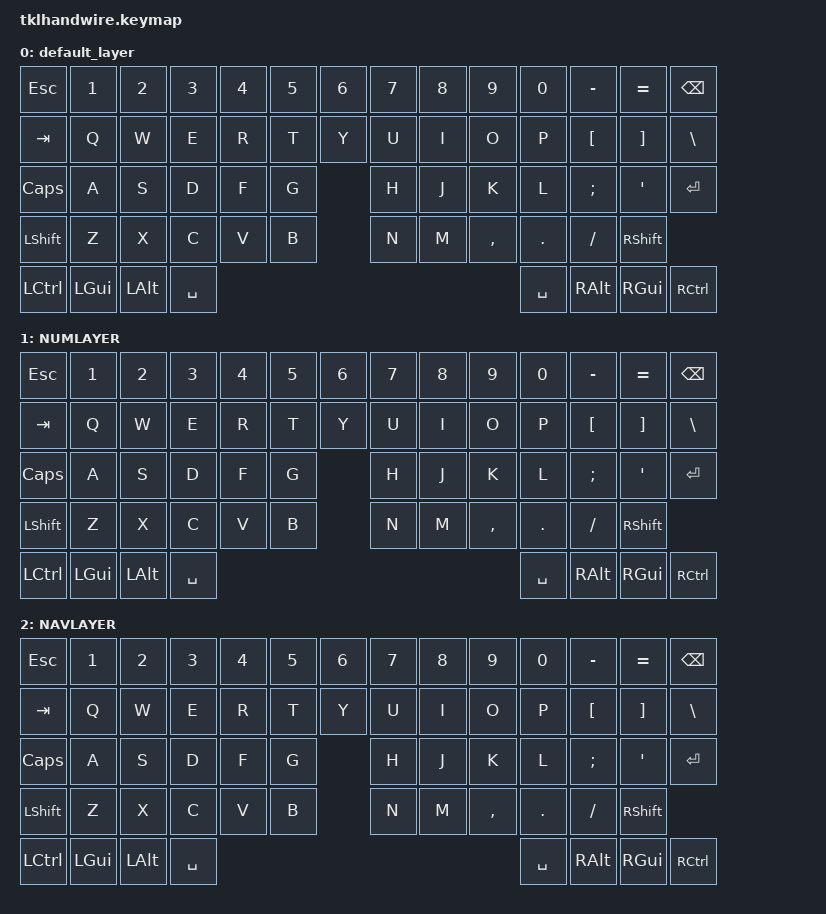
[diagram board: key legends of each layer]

#include <behaviors.dtsi>
#include <dt-bindings/zmk/keys.h>
#include <dt-bindings/zmk/mouse.h>
#include <dt-bindings/zmk/bt.h>
#include <dt-bindings/zmk/outputs.h>

#include <dt-bindings/zmk/pointing.h>

#define DEFAULT     0
#define NUMLAYER    1
#define NAVLAYER    2

/*
  ╭─────────────────────────────┬───────────────────────────────────╮ 
  │  0   1   2   3   4   5   6  |   7   8   9   10  11  12  __  13  │
  │ 14   15  16  17  18  19  __ |   20  21  22  23  24  25  26  27  |
  │ 28   29  30  31  32  33  __ |   34  35  36  37  38  39  40  __  |
  │ 41   42  43  44  45  46  __ |   47  48  49  50  51  __  52  __  |
  | 53   54  55  __  56  __  __ |   __  57  __  __  58  59  60  __  |
  ╰─────────────────────────────┴───────────────────────────────────╯
  */

/ {
    
    combos {
        compatible = "zmk,combos";
        combo_bootloader_left {
            timeout-ms = <50>;
            key-positions = <0 1>;
            bindings = <&bootloader>;
        };
        combo_bootloader_right {
            timeout-ms = <50>;
            key-positions = <12 13>;
            bindings = <&bootloader>;
        };
        combo_bluetooth_clear {
            timeout-ms = <50>;
            key-positions = <53 54>;
            bindings = <&bt BT_CLR>;
        };
        
    };
};

/ {
        keymap {
                compatible = "zmk,keymap";
                default_layer {

                        bindings = <

    &kp ESC     &kp NUMBER_1    &kp NUMBER_2    &kp NUMBER_3    &kp NUMBER_4    &kp NUMBER_5    &kp NUMBER_6        &kp NUMBER_7    &kp NUMBER_8    &kp NUMBER_9    &kp NUMBER_0    &kp MINUS   &kp EQUAL               &kp BSPC
    &kp TAB     &kp Q           &kp W           &kp E           &kp R           &kp T                               &kp Y           &kp U           &kp I           &kp O           &kp P       &kp LBKT    &kp RBKT    &kp BSLH
    &kp CAPS    &kp A           &kp S           &kp D           &kp F           &kp G                               &kp H           &kp J           &kp K           &kp L           &kp SEMI    &kp SQT     &kp RET     
    &kp LSHIFT  &kp Z           &kp X           &kp C           &kp V           &kp B                               &kp N           &kp M           &kp COMMA       &kp DOT         &kp FSLH                &kp RSHIFT  
    &kp LCTRL   &kp LGUI        &kp LALT                                        &kp SPACE                           &kp SPACE                                                       &kp RALT    &kp RGUI    &kp RCTRL   
                  
                        >;
                };
                NUMLAYER {

                        bindings = <
                        
    &kp ESC     &kp NUMBER_1    &kp NUMBER_2    &kp NUMBER_3    &kp NUMBER_4    &kp NUMBER_5    &kp NUMBER_6        &kp NUMBER_7    &kp NUMBER_8    &kp NUMBER_9    &kp NUMBER_0    &kp MINUS   &kp EQUAL          &kp BSPC
    &kp TAB     &kp Q           &kp W           &kp E           &kp R           &kp T                          &kp Y           &kp U           &kp I           &kp O           &kp P       &kp LBKT    &kp RBKT    &kp BSLH
    &kp CAPS    &kp A           &kp S           &kp D           &kp F           &kp G                          &kp H           &kp J           &kp K           &kp L           &kp SEMI    &kp SQT     &kp RET     
    &kp LSHIFT  &kp Z           &kp X           &kp C           &kp V           &kp B                          &kp N           &kp M           &kp COMMA       &kp DOT         &kp FSLH           &kp RSHIFT  
    &kp LCTRL   &kp LGUI        &kp LALT                   &kp SPACE                                            &kp SPACE                             &kp RALT    &kp RGUI    &kp RCTRL   
                        >;
                };
                NAVLAYER {

                        bindings = <

    &kp ESC     &kp NUMBER_1    &kp NUMBER_2    &kp NUMBER_3    &kp NUMBER_4    &kp NUMBER_5    &kp NUMBER_6        &kp NUMBER_7    &kp NUMBER_8    &kp NUMBER_9    &kp NUMBER_0    &kp MINUS   &kp EQUAL          &kp BSPC
    &kp TAB     &kp Q           &kp W           &kp E           &kp R           &kp T                          &kp Y           &kp U           &kp I           &kp O           &kp P       &kp LBKT    &kp RBKT    &kp BSLH
    &kp CAPS    &kp A           &kp S           &kp D           &kp F           &kp G                          &kp H           &kp J           &kp K           &kp L           &kp SEMI    &kp SQT     &kp RET     
    &kp LSHIFT  &kp Z           &kp X           &kp C           &kp V           &kp B                          &kp N           &kp M           &kp COMMA       &kp DOT         &kp FSLH           &kp RSHIFT  
    &kp LCTRL   &kp LGUI        &kp LALT                   &kp SPACE                                            &kp SPACE                             &kp RALT    &kp RGUI    &kp RCTRL   
                        >;
                };
        };
};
